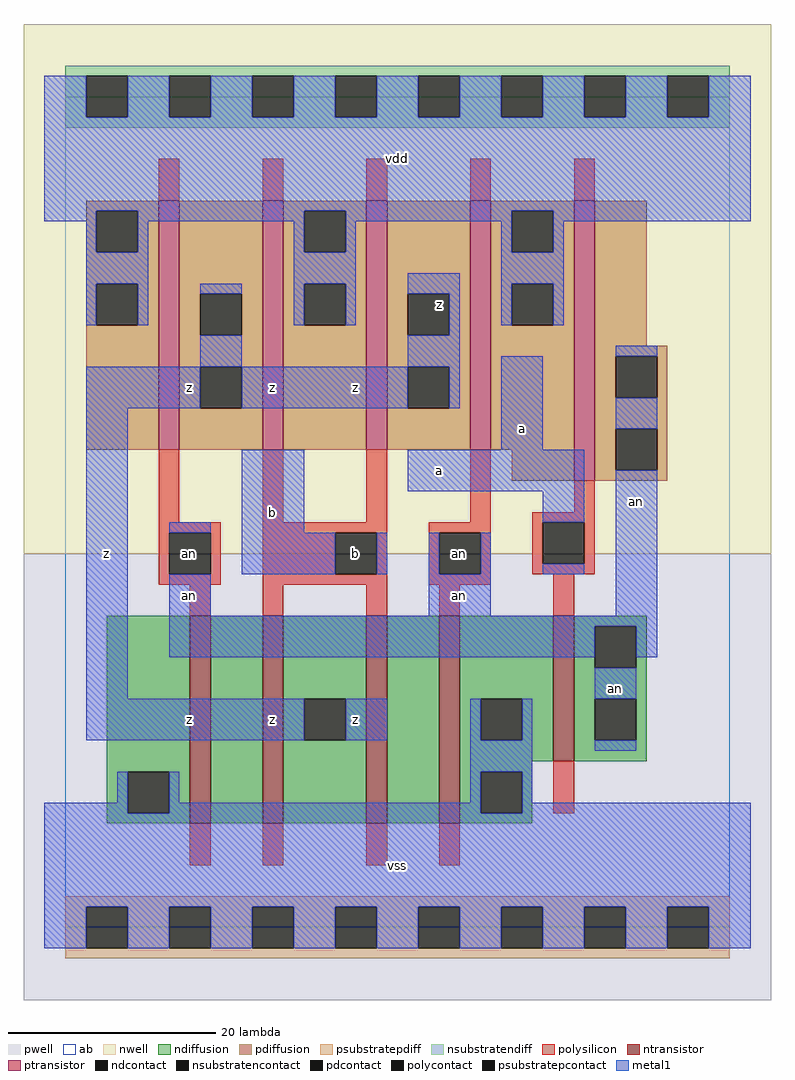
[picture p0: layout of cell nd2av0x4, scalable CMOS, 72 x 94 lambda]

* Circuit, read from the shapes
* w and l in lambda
.subckt nd2av0x4 a an b vdd vss z
M1 n1 an vss vss nfet w=20 l=2
M2 z b n1 vss nfet w=20 l=2
M3 n2 b z vss nfet w=20 l=2
M4 vss an n2 vss nfet w=20 l=2
M5 an a vss vss nfet w=14 l=2
M6 z an vdd vdd pfet w=24 l=2 m=2
M7 vdd b z vdd pfet w=24 l=2 m=2
M8 an a vdd vdd pfet w=27 l=2
.ends

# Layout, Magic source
magic
tech scmos
<< ab >>
rect 0 0 64 80
<< pwell >>
rect -4 -7 68 36
<< nwell >>
rect -4 36 68 87
<< polysilicon >>
rect 9 70 11 74
rect 19 70 21 74
rect 29 70 31 74
rect 39 70 41 74
rect 49 70 51 74
rect 9 39 11 46
rect 19 39 21 46
rect 29 39 31 46
rect 39 39 41 46
rect 49 40 51 43
rect 9 38 15 39
rect 9 34 10 38
rect 14 34 15 38
rect 9 33 15 34
rect 19 38 31 39
rect 19 34 26 38
rect 30 34 31 38
rect 19 33 31 34
rect 35 38 41 39
rect 35 34 36 38
rect 40 34 41 38
rect 45 39 51 40
rect 45 35 46 39
rect 50 35 51 39
rect 45 34 51 35
rect 35 33 41 34
rect 12 30 14 33
rect 19 30 21 33
rect 29 30 31 33
rect 36 30 38 33
rect 47 30 49 34
rect 47 11 49 16
rect 12 6 14 10
rect 19 6 21 10
rect 29 6 31 10
rect 36 6 38 10
<< ndiffusion >>
rect 4 15 12 30
rect 4 11 6 15
rect 10 11 12 15
rect 4 10 12 11
rect 14 10 19 30
rect 21 22 29 30
rect 21 18 23 22
rect 27 18 29 22
rect 21 10 29 18
rect 31 10 36 30
rect 38 22 47 30
rect 38 18 40 22
rect 44 18 47 22
rect 38 16 47 18
rect 49 29 56 30
rect 49 25 51 29
rect 55 25 56 29
rect 49 22 56 25
rect 49 18 51 22
rect 55 18 56 22
rect 49 16 56 18
rect 38 15 45 16
rect 38 11 40 15
rect 44 11 45 15
rect 38 10 45 11
<< pdiffusion >>
rect 2 69 9 70
rect 2 65 3 69
rect 7 65 9 69
rect 2 62 9 65
rect 2 58 3 62
rect 7 58 9 62
rect 2 46 9 58
rect 11 61 19 70
rect 11 57 13 61
rect 17 57 19 61
rect 11 54 19 57
rect 11 50 13 54
rect 17 50 19 54
rect 11 46 19 50
rect 21 69 29 70
rect 21 65 23 69
rect 27 65 29 69
rect 21 62 29 65
rect 21 58 23 62
rect 27 58 29 62
rect 21 46 29 58
rect 31 61 39 70
rect 31 57 33 61
rect 37 57 39 61
rect 31 54 39 57
rect 31 50 33 54
rect 37 50 39 54
rect 31 46 39 50
rect 41 69 49 70
rect 41 65 43 69
rect 47 65 49 69
rect 41 62 49 65
rect 41 58 43 62
rect 47 58 49 62
rect 41 46 49 58
rect 43 43 49 46
rect 51 56 56 70
rect 51 55 58 56
rect 51 51 53 55
rect 57 51 58 55
rect 51 48 58 51
rect 51 44 53 48
rect 57 44 58 48
rect 51 43 58 44
<< metal1 >>
rect -2 78 2 82
rect 6 78 10 82
rect 14 78 18 82
rect 22 78 26 82
rect 30 78 34 82
rect 38 78 42 82
rect 46 78 50 82
rect 54 78 58 82
rect 62 78 66 82
rect -2 69 66 78
rect -2 68 3 69
rect 2 65 3 68
rect 7 68 23 69
rect 7 65 8 68
rect 2 62 8 65
rect 22 65 23 68
rect 27 68 43 69
rect 27 65 28 68
rect 22 62 28 65
rect 42 65 43 68
rect 47 68 66 69
rect 47 65 48 68
rect 2 58 3 62
rect 7 58 8 62
rect 13 61 17 62
rect 22 58 23 62
rect 27 58 28 62
rect 33 61 38 63
rect 13 54 17 57
rect 37 57 38 61
rect 42 62 48 65
rect 42 58 43 62
rect 47 58 48 62
rect 33 54 38 57
rect 53 55 57 56
rect 2 50 13 54
rect 17 50 33 54
rect 37 50 38 54
rect 2 22 6 50
rect 42 46 46 55
rect 53 48 57 51
rect 10 38 14 39
rect 17 38 23 46
rect 33 42 50 46
rect 46 39 50 42
rect 17 34 26 38
rect 30 34 31 38
rect 35 34 36 38
rect 40 34 41 38
rect 46 34 50 35
rect 10 30 14 34
rect 35 30 41 34
rect 53 30 57 44
rect 10 29 57 30
rect 10 26 51 29
rect 55 26 57 29
rect 51 22 55 25
rect 2 18 23 22
rect 27 18 31 22
rect 39 18 40 22
rect 44 18 45 22
rect 39 15 45 18
rect 51 17 55 18
rect 5 12 6 15
rect -2 11 6 12
rect 10 12 11 15
rect 39 12 40 15
rect 10 11 40 12
rect 44 12 45 15
rect 44 11 66 12
rect -2 2 66 11
rect -2 -2 2 2
rect 6 -2 10 2
rect 14 -2 18 2
rect 22 -2 26 2
rect 30 -2 34 2
rect 38 -2 42 2
rect 46 -2 50 2
rect 54 -2 58 2
rect 62 -2 66 2
<< ntransistor >>
rect 12 10 14 30
rect 19 10 21 30
rect 29 10 31 30
rect 36 10 38 30
rect 47 16 49 30
<< ptransistor >>
rect 9 46 11 70
rect 19 46 21 70
rect 29 46 31 70
rect 39 46 41 70
rect 49 43 51 70
<< polycontact >>
rect 10 34 14 38
rect 26 34 30 38
rect 36 34 40 38
rect 46 35 50 39
<< ndcontact >>
rect 6 11 10 15
rect 23 18 27 22
rect 40 18 44 22
rect 51 25 55 29
rect 51 18 55 22
rect 40 11 44 15
<< pdcontact >>
rect 3 65 7 69
rect 3 58 7 62
rect 13 57 17 61
rect 13 50 17 54
rect 23 65 27 69
rect 23 58 27 62
rect 33 57 37 61
rect 33 50 37 54
rect 43 65 47 69
rect 43 58 47 62
rect 53 51 57 55
rect 53 44 57 48
<< psubstratepcontact >>
rect 2 -2 6 2
rect 10 -2 14 2
rect 18 -2 22 2
rect 26 -2 30 2
rect 34 -2 38 2
rect 42 -2 46 2
rect 50 -2 54 2
rect 58 -2 62 2
<< nsubstratencontact >>
rect 2 78 6 82
rect 10 78 14 82
rect 18 78 22 82
rect 26 78 30 82
rect 34 78 38 82
rect 42 78 46 82
rect 50 78 54 82
rect 58 78 62 82
<< psubstratepdiff >>
rect 0 2 64 3
rect 0 -2 2 2
rect 6 -2 10 2
rect 14 -2 18 2
rect 22 -2 26 2
rect 30 -2 34 2
rect 38 -2 42 2
rect 46 -2 50 2
rect 54 -2 58 2
rect 62 -2 64 2
rect 0 -3 64 -2
<< nsubstratendiff >>
rect 0 82 64 83
rect 0 78 2 82
rect 6 78 10 82
rect 14 78 18 82
rect 22 78 26 82
rect 30 78 34 82
rect 38 78 42 82
rect 46 78 50 82
rect 54 78 58 82
rect 62 78 64 82
rect 0 77 64 78
<< labels >>
rlabel polycontact 12 36 12 36 6 an
rlabel polycontact 38 36 38 36 6 an
rlabel metal1 4 36 4 36 6 z
rlabel metal1 12 20 12 20 6 z
rlabel metal1 20 20 20 20 6 z
rlabel metal1 12 32 12 32 6 an
rlabel metal1 20 40 20 40 6 b
rlabel metal1 20 52 20 52 6 z
rlabel metal1 12 52 12 52 6 z
rlabel metal1 32 6 32 6 6 vss
rlabel metal1 28 20 28 20 6 z
rlabel polycontact 28 36 28 36 6 b
rlabel metal1 36 44 36 44 6 a
rlabel metal1 28 52 28 52 6 z
rlabel pdcontact 36 60 36 60 6 z
rlabel metal1 32 74 32 74 6 vdd
rlabel metal1 38 32 38 32 6 an
rlabel metal1 44 48 44 48 6 a
rlabel metal1 53 23 53 23 6 an
rlabel metal1 55 41 55 41 6 an
<< end >>
